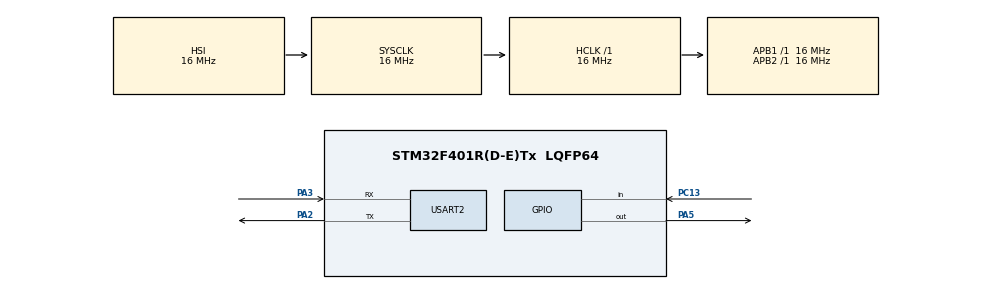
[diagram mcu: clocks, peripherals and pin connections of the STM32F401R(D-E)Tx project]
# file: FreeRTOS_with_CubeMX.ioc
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FREERTOS.Mutexes01=uartMutex,Dynamic,NULL
FREERTOS.Tasks01=defaultTask,0,128,Thread1,Default,NULL,Dynamic,NULL,NULL;myTask02,-2,128,Thread2,Default,NULL,Dynamic,NULL,NULL
Mcu.Family=STM32F4
Mcu.Name=STM32F401R(D-E)Tx
Mcu.Package=LQFP64
NVIC.PriorityGroup=NVIC_PRIORITYGROUP_4
NVIC.TIM3_IRQn=true\:0\:0\:false\:false\:true\:false\:false\:true
NVIC.TimeBase=TIM3_IRQn
NVIC.TimeBaseIP=TIM3
PA2.Mode=Asynchronous
PA2.Signal=USART2_TX
PA3.Mode=Asynchronous
PA3.Signal=USART2_RX
PA5.Signal=GPIO_Output
PC13-ANTI_TAMP.Signal=GPIO_Input
ProjectManager.HeapSize=0x200
ProjectManager.StackSize=0x400
ProjectManager.TargetToolchain=MDK-ARM V5
RCC.AHBFreq_Value=16000000
RCC.APB1Freq_Value=16000000
RCC.APB2Freq_Value=16000000
RCC.CortexFreq_Value=16000000
RCC.HSE_VALUE=25000000
RCC.HSI_VALUE=16000000
RCC.LSE_VALUE=32768
RCC.SYSCLKFreq_VALUE=16000000
RCC.VCOOutputFreq_Value=192000000
USART2.VirtualMode=VM_ASYNC
VP_FREERTOS_VS_CMSIS_V1.Mode=CMSIS_V1
VP_SYS_VS_tim3.Mode=TIM3
board=custom

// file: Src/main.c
/* USER CODE BEGIN Header */
/**
  ******************************************************************************
  * @file           : main.c
  * @brief          : Main program body
  ******************************************************************************
  * @attention
  *
  * <h2><center>&copy; Copyright (c) 2020 STMicroelectronics.
  * All rights reserved.</center></h2>
  *
  * This software component is licensed by ST under Ultimate Liberty license
  * SLA0044, the "License"; You may not use this file except in compliance with
  * the License. You may obtain a copy of the License at:
  *                             www.st.com/SLA0044
  *
  ******************************************************************************
  */
/* USER CODE END Header */

#include "main.h"
#include "cmsis_os.h"

UART_HandleTypeDef huart2;

osThreadId defaultTaskHandle;
osThreadId myTask02Handle;
osMutexId uartMutexHandle;
/* USER CODE BEGIN PV */
osThreadId myTask03Handle;
/* USER CODE END PV */

void SystemClock_Config(void);
static void MX_GPIO_Init(void);
static void MX_USART2_UART_Init(void);
void Thread1(void const * argument);
void Thread2(void const * argument);

/* USER CODE BEGIN PFP */
void Thread3(void const * argument);
/* USER CODE END PFP */

int main(void)
{

  /* MCU Configuration--------------------------------------------------------*/

  /* Reset of all peripherals, Initializes the Flash interface and the Systick. */
  HAL_Init();

  /* Configure the system clock */
  SystemClock_Config();

  /* Initialize all configured peripherals */
  MX_GPIO_Init();
  MX_USART2_UART_Init();

  /* Create the mutex(es) */
  /* definition and creation of uartMutex */
  osMutexDef(uartMutex);
  uartMutexHandle = osMutexCreate(osMutex(uartMutex));

  /* Create the thread(s) */
  /* definition and creation of defaultTask */
  osThreadDef(defaultTask, Thread1, osPriorityNormal, 0, 128);
  defaultTaskHandle = osThreadCreate(osThread(defaultTask), NULL);

  /* definition and creation of myTask02 */
  osThreadDef(myTask02, Thread2, osPriorityLow, 0, 128);
  myTask02Handle = osThreadCreate(osThread(myTask02), NULL);

  /* USER CODE BEGIN RTOS_THREADS */
  /* add threads, ... */
  osThreadDef(myTask03, Thread3, osPriorityLow, 0, 128);
  myTask03Handle = osThreadCreate(osThread(myTask03), NULL);
  /* USER CODE END RTOS_THREADS */

  /* Start scheduler */
  osKernelStart();

  /* We should never get here as control is now taken by the scheduler */

  /* Infinite loop */
  while (1)
  {

  }
}

void SystemClock_Config(void)
{
  RCC_OscInitTypeDef RCC_OscInitStruct = {0};
  RCC_ClkInitTypeDef RCC_ClkInitStruct = {0};

  /** Configure the main internal regulator output voltage
  */
  __HAL_RCC_PWR_CLK_ENABLE();
  __HAL_PWR_VOLTAGESCALING_CONFIG(PWR_REGULATOR_VOLTAGE_SCALE2);
  /** Initializes the CPU, AHB and APB busses clocks
  */
  RCC_OscInitStruct.OscillatorType = RCC_OSCILLATORTYPE_HSI;
  RCC_OscInitStruct.HSIState = RCC_HSI_ON;
  RCC_OscInitStruct.HSICalibrationValue = RCC_HSICALIBRATION_DEFAULT;
  RCC_OscInitStruct.PLL.PLLState = RCC_PLL_NONE;
  if (HAL_RCC_OscConfig(&RCC_OscInitStruct) != HAL_OK)
  {
    Error_Handler();
  }
  /** Initializes the CPU, AHB and APB busses clocks
  */
  RCC_ClkInitStruct.ClockType = RCC_CLOCKTYPE_HCLK|RCC_CLOCKTYPE_SYSCLK
                              |RCC_CLOCKTYPE_PCLK1|RCC_CLOCKTYPE_PCLK2;
  RCC_ClkInitStruct.SYSCLKSource = RCC_SYSCLKSOURCE_HSI;
  RCC_ClkInitStruct.AHBCLKDivider = RCC_SYSCLK_DIV1;
  RCC_ClkInitStruct.APB1CLKDivider = RCC_HCLK_DIV1;
  RCC_ClkInitStruct.APB2CLKDivider = RCC_HCLK_DIV1;

  if (HAL_RCC_ClockConfig(&RCC_ClkInitStruct, FLASH_LATENCY_0) != HAL_OK)
  {
    Error_Handler();
  }
}

static void MX_USART2_UART_Init(void)
{

  huart2.Instance = USART2;
  huart2.Init.BaudRate = 115200;
  huart2.Init.WordLength = UART_WORDLENGTH_8B;
  huart2.Init.StopBits = UART_STOPBITS_1;
  huart2.Init.Parity = UART_PARITY_NONE;
  huart2.Init.Mode = UART_MODE_TX_RX;
  huart2.Init.HwFlowCtl = UART_HWCONTROL_NONE;
  huart2.Init.OverSampling = UART_OVERSAMPLING_16;
  if (HAL_UART_Init(&huart2) != HAL_OK)
  {
    Error_Handler();
  }

}

static void MX_GPIO_Init(void)
{
  GPIO_InitTypeDef GPIO_InitStruct = {0};

  /* GPIO Ports Clock Enable */
  __HAL_RCC_GPIOC_CLK_ENABLE();
  __HAL_RCC_GPIOA_CLK_ENABLE();

  /*Configure GPIO pin Output Level */
  HAL_GPIO_WritePin(GPIOA, GPIO_PIN_5, GPIO_PIN_RESET);

  /*Configure GPIO pin : PC13 */
  GPIO_InitStruct.Pin = GPIO_PIN_13;
  GPIO_InitStruct.Mode = GPIO_MODE_INPUT;
  GPIO_InitStruct.Pull = GPIO_NOPULL;
  HAL_GPIO_Init(GPIOC, &GPIO_InitStruct);

  /*Configure GPIO pin : PA5 */
  GPIO_InitStruct.Pin = GPIO_PIN_5;
  GPIO_InitStruct.Mode = GPIO_MODE_OUTPUT_PP;
  GPIO_InitStruct.Pull = GPIO_NOPULL;
  GPIO_InitStruct.Speed = GPIO_SPEED_FREQ_LOW;
  HAL_GPIO_Init(GPIOA, &GPIO_InitStruct);

}

void Thread1(void const * argument)
{

  /* USER CODE BEGIN 5 */
	uint8_t txData[20] = "Hello from Thread1\r\n";
  /* Infinite loop */
  for(;;)
  {
	HAL_GPIO_TogglePin(GPIOA, GPIO_PIN_5);
	xSemaphoreTake(uartMutexHandle, portMAX_DELAY);
    HAL_UART_Transmit(&huart2, txData, 20, 5);
	xSemaphoreGive(uartMutexHandle);
	osDelay(1000);
  }
  /* USER CODE END 5 */
}

void Thread2(void const * argument)
{
  /* USER CODE BEGIN Thread2 */
	uint8_t txData[20] = "Hello from Thread2\r\n";

  /* Infinite loop */
	for(;;)
	{
		if(HAL_GPIO_ReadPin(GPIOC, GPIO_PIN_13) == GPIO_PIN_RESET)
		{
			xTaskNotify(myTask03Handle, 0x01, eSetBits);
			xSemaphoreTake(uartMutexHandle, portMAX_DELAY);
			HAL_UART_Transmit(&huart2, txData, 20, 5);
			xSemaphoreGive(uartMutexHandle);
		}
		osDelay(1000);
	}
  /* USER CODE END Thread2 */
}

/* Thread3 Function */
void Thread3(void const * argument)
{
	uint8_t txData[20] = "Hello from Thread3\r\n";
	uint32_t notifValue;
  /* Infinite loop */
	for(;;)
	{
		xTaskNotifyWait(pdFALSE, 0xFF, &notifValue, portMAX_DELAY);
		if((notifValue & 0x01) != 0x00)
		{
			xSemaphoreTake(uartMutexHandle, portMAX_DELAY);
			HAL_UART_Transmit(&huart2, txData, 20, 5);
			xSemaphoreGive(uartMutexHandle);
		}
	}
  /* USER CODE END Thread2 */
}

void HAL_TIM_PeriodElapsedCallback(TIM_HandleTypeDef *htim)
{
  if (htim->Instance == TIM3) {
    HAL_IncTick();
  }
}

void Error_Handler(void)
{
}

/************************ (C) COPYRIGHT STMicroelectronics *****END OF FILE****/
